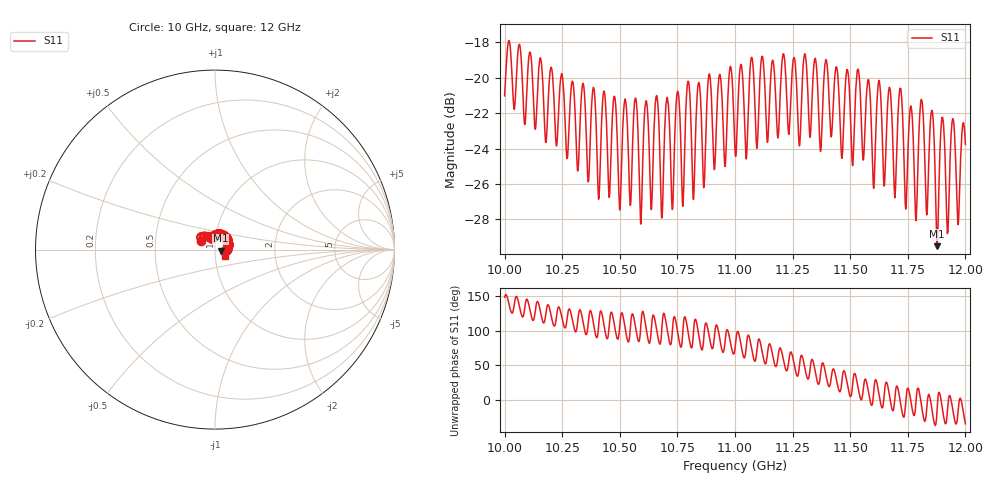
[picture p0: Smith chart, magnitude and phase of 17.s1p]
[Version] 2.0
! Rohde & Schwarz Vector Network Analyzer
! Rohde-Schwarz,ZNL20-2Port,1323001220200009,1.71.1.10-23.02.1.238
! Port Assignments:
! Nominal Port -> Actual Test Port
!  1 -> 1
! Created: GMT 2024-09-04 12:02:52
# Hz S DB R 50
[Number of Ports] 1
! freq[Hz]  S11[mag dB]  S11[ang]
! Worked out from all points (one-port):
!   2001 points, 10 GHz to 12 GHz, reference 50 ohm
!   lowest |S11| = -29.5 dB at 11.88 GHz (marker M1), VSWR 1.07, Z = 53.4 - j0.581 ohm
!   |S11| at or under -10 dB: start of sweep to end of sweep
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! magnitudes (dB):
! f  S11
! 10 GHz  -21.0
! 10.25 GHz  -19.9
! 10.36 GHz  -25.9
! 10.39 GHz  -20.6
! 10.41 GHz  -26.7
! 10.48 GHz  -21.1
! 10.5 GHz  -27.5
! 10.57 GHz  -21.2
! 10.59 GHz  -28.1
! 10.64 GHz  -27.4
! 10.66 GHz  -21.0
! 10.73 GHz  -27.4
! 10.75 GHz  -20.8
! 10.77 GHz  -27.2
! 10.8 GHz  -20.2
! 10.82 GHz  -26.8
! 10.84 GHz  -20.3
! 10.86 GHz  -26.2
! 10.89 GHz  -19.8
! 11 GHz  -24.1
! 11.25 GHz  -19.3
! 11.5 GHz  -21.8
! 11.75 GHz  -24.5
! 11.86 GHz  -21.8
! 11.88 GHz  -29.5
! 11.9 GHz  -22.2
! 11.92 GHz  -28.7
! 12 GHz  -23.8
